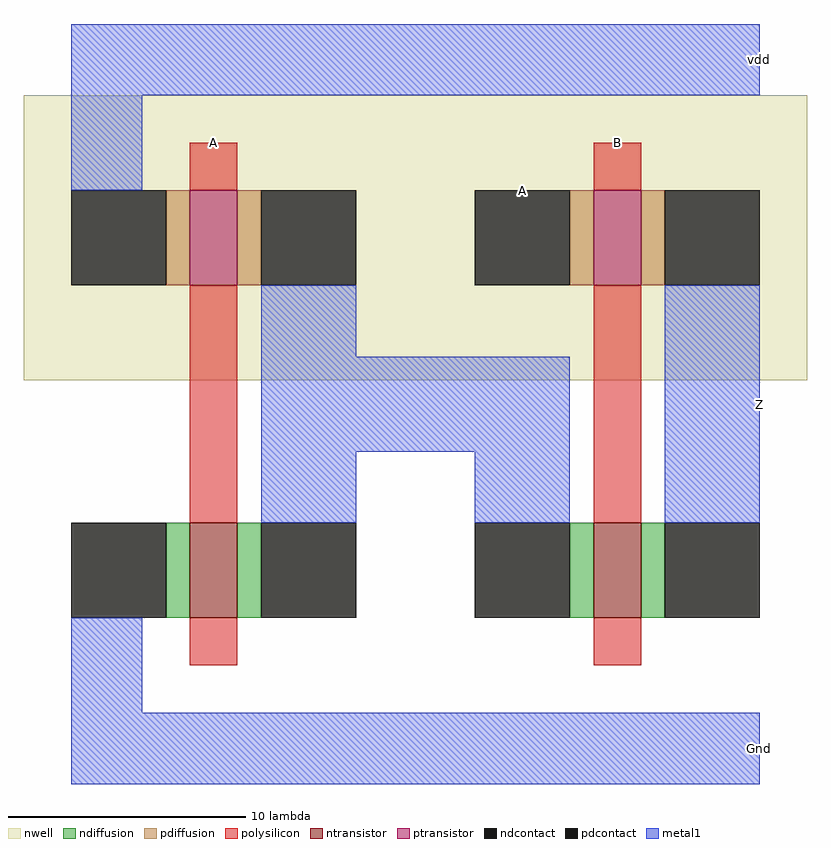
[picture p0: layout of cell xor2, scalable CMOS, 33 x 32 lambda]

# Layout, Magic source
magic
tech scmos
<< nwell >>
rect -9 -3 24 9
<< polysilicon >>
rect -2 5 0 7
rect 15 5 17 7
rect -2 -9 0 1
rect 15 -9 17 1
rect -2 -15 0 -13
rect 15 -15 17 -13
<< ndiffusion >>
rect -3 -13 -2 -9
rect 0 -13 1 -9
rect 14 -13 15 -9
rect 17 -13 18 -9
<< pdiffusion >>
rect -3 1 -2 5
rect 0 1 1 5
rect 14 1 15 5
rect 17 1 18 5
<< metal1 >>
rect -7 9 22 12
rect -7 5 -4 9
rect 1 -2 5 1
rect 1 -6 14 -2
rect 1 -9 5 -6
rect 10 -9 14 -6
rect 18 -9 22 1
rect -7 -17 -4 -13
rect -7 -20 22 -17
<< ntransistor >>
rect -2 -13 0 -9
rect 15 -13 17 -9
<< ptransistor >>
rect -2 1 0 5
rect 15 1 17 5
<< ndcontact >>
rect -7 -13 -3 -9
rect 1 -13 5 -9
rect 10 -13 14 -9
rect 18 -13 22 -9
<< pdcontact >>
rect -7 1 -3 5
rect 1 1 5 5
rect 10 1 14 5
rect 18 1 22 5
<< labels >>
rlabel metal1 22 -6 22 -2 3 Z
rlabel polysilicon 15 7 17 7 1 B
rlabel polysilicon -2 7 0 7 1 A
rlabel pdcontact 10 5 14 5 1 A
rlabel metal1 22 9 22 12 6 vdd
rlabel metal1 22 -20 22 -17 8 Gnd
<< end >>
